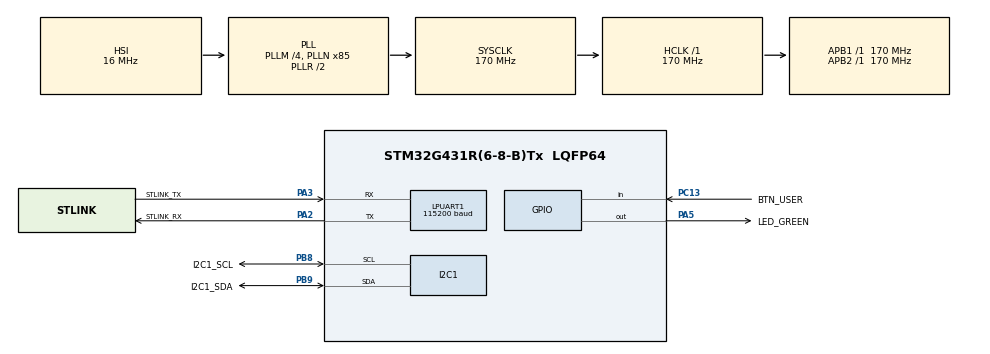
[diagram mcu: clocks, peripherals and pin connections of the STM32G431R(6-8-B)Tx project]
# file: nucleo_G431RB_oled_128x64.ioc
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I2C1.Timing=0x40B285C2
LPUART1.BaudRate=115200
LPUART1.WordLength=UART_WORDLENGTH_8B
Mcu.Family=STM32G4
Mcu.Name=STM32G431R(6-8-B)Tx
Mcu.Package=LQFP64
NVIC.PriorityGroup=NVIC_PRIORITYGROUP_4
PA13.GPIO_Label=T_SWDIO
PA13.Mode=Serial_Wire
PA13.Signal=SYS_JTMS-SWDIO
PA14.GPIO_Label=T_SWCLK
PA14.Mode=Serial_Wire
PA14.Signal=SYS_JTCK-SWCLK
PA2.GPIO_Label=STLINK_RX
PA2.Mode=Asynchronous
PA2.Signal=LPUART1_TX
PA3.GPIO_Label=STLINK_TX
PA3.Mode=Asynchronous
PA3.Signal=LPUART1_RX
PA5.GPIO_Label=LED_GREEN
PA5.Signal=GPIO_Output
PB3.GPIO_Label=T_SWO
PB3.Signal=SYS_JTDO-SWO
PB8-BOOT0.GPIO_Label=I2C1_SCL
PB8-BOOT0.Mode=I2C
PB8-BOOT0.Signal=I2C1_SCL
PB9.GPIO_Label=I2C1_SDA
PB9.Mode=I2C
PB9.Signal=I2C1_SDA
PC13.GPIO_Label=BTN_USER
PC13.Signal=GPIO_Input
PC14-OSC32_IN.Mode=LSE-External-Oscillator
PC14-OSC32_IN.Signal=RCC_OSC32_IN
PC15-OSC32_OUT.Mode=LSE-External-Oscillator
PC15-OSC32_OUT.Signal=RCC_OSC32_OUT
PF0-OSC_IN.Mode=HSE-External-Oscillator
PF0-OSC_IN.Signal=RCC_OSC_IN
PF1-OSC_OUT.Mode=HSE-External-Oscillator
PF1-OSC_OUT.Signal=RCC_OSC_OUT
ProjectManager.HeapSize=0x200
ProjectManager.StackSize=0x400
ProjectManager.TargetToolchain=CMake
RCC.ADC12Freq_Value=170000000
RCC.AHBFreq_Value=170000000
RCC.APB1Freq_Value=170000000
RCC.APB1TimFreq_Value=170000000
RCC.APB2Freq_Value=170000000
RCC.APB2TimFreq_Value=170000000
RCC.CortexFreq_Value=170000000
RCC.EXTERNAL_CLOCK_VALUE=12288000
RCC.HCLKFreq_Value=170000000
RCC.HSE_VALUE=24000000
RCC.HSI48_VALUE=48000000
RCC.HSI_VALUE=16000000
RCC.PLLM=RCC_PLLM_DIV4
RCC.PLLN=85
RCC.SYSCLKFreq_VALUE=170000000
RCC.SYSCLKSource=RCC_SYSCLKSOURCE_PLLCLK
RCC.USBFreq_Value=170000000
RCC.VCOOutputFreq_Value=340000000
RTC.SynchPrediv=250
VP_RTC_VS_RTC_Activate.Mode=RTC_Enabled
VP_SYS_VS_DBSignals.Mode=DisableDeadBatterySignals
board=NUCLEO-G431RB

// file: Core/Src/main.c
/* USER CODE BEGIN Header */
/**
  ******************************************************************************
  * @file           : main.c
  * @brief          : Main program body
  ******************************************************************************
  * @attention
  *
  * Copyright (c) 2026 STMicroelectronics.
  * All rights reserved.
  *
  * This software is licensed under terms that can be found in the LICENSE file
  * in the root directory of this software component.
  * If no LICENSE file comes with this software, it is provided AS-IS.
  *
  ******************************************************************************
  */
/* USER CODE END Header */
#include "main.h"
#include "i2c.h"
#include "stm32g4xx_hal_rtc.h"
#include "usart.h"
#include "rtc.h"
#include "gpio.h"
#include "font.h"

/* USER CODE BEGIN Includes */

#include "oled.h"
#include <stdio.h>

/* USER CODE END Includes */

void SystemClock_Config(void);

int main(void)
{

  /* MCU Configuration--------------------------------------------------------*/

  /* Reset of all peripherals, Initializes the Flash interface and the Systick. */
  HAL_Init();

  /* Configure the system clock */
  SystemClock_Config();

  /* Initialize all configured peripherals */
  MX_GPIO_Init();
  MX_LPUART1_UART_Init();
  MX_I2C1_Init();
  MX_RTC_Init();
  /* USER CODE BEGIN 2 */

  printf("\r\n\r\n** Booted **\r\n");
  printf("Build: " __DATE__ ", " __TIME__ "\r\n");

  OLED_Init();
  OLED_Clear();
  //OLED_Fill();
  OLED_Fill3();

  /* USER CODE END 2 */

  /* Infinite loop */
  /* USER CODE BEGIN WHILE */
  while (1)
  {
    Blink_Code(1);

    /* USER CODE END WHILE */

  }
}

void SystemClock_Config(void)
{
  RCC_OscInitTypeDef RCC_OscInitStruct = {0};
  RCC_ClkInitTypeDef RCC_ClkInitStruct = {0};

  /** Configure the main internal regulator output voltage
  */
  HAL_PWREx_ControlVoltageScaling(PWR_REGULATOR_VOLTAGE_SCALE1_BOOST);

  /** Initializes the RCC Oscillators according to the specified parameters
  * in the RCC_OscInitTypeDef structure.
  */
  RCC_OscInitStruct.OscillatorType = RCC_OSCILLATORTYPE_HSI|RCC_OSCILLATORTYPE_LSI;
  RCC_OscInitStruct.HSIState = RCC_HSI_ON;
  RCC_OscInitStruct.HSICalibrationValue = RCC_HSICALIBRATION_DEFAULT;
  RCC_OscInitStruct.LSIState = RCC_LSI_ON;
  RCC_OscInitStruct.PLL.PLLState = RCC_PLL_ON;
  RCC_OscInitStruct.PLL.PLLSource = RCC_PLLSOURCE_HSI;
  RCC_OscInitStruct.PLL.PLLM = RCC_PLLM_DIV4;
  RCC_OscInitStruct.PLL.PLLN = 85;
  RCC_OscInitStruct.PLL.PLLP = RCC_PLLP_DIV2;
  RCC_OscInitStruct.PLL.PLLQ = RCC_PLLQ_DIV2;
  RCC_OscInitStruct.PLL.PLLR = RCC_PLLR_DIV2;
  if (HAL_RCC_OscConfig(&RCC_OscInitStruct) != HAL_OK)
  {
    Error_Handler();
  }

  /** Initializes the CPU, AHB and APB buses clocks
  */
  RCC_ClkInitStruct.ClockType = RCC_CLOCKTYPE_HCLK|RCC_CLOCKTYPE_SYSCLK
                              |RCC_CLOCKTYPE_PCLK1|RCC_CLOCKTYPE_PCLK2;
  RCC_ClkInitStruct.SYSCLKSource = RCC_SYSCLKSOURCE_PLLCLK;
  RCC_ClkInitStruct.AHBCLKDivider = RCC_SYSCLK_DIV1;
  RCC_ClkInitStruct.APB1CLKDivider = RCC_HCLK_DIV1;
  RCC_ClkInitStruct.APB2CLKDivider = RCC_HCLK_DIV1;

  if (HAL_RCC_ClockConfig(&RCC_ClkInitStruct, FLASH_LATENCY_4) != HAL_OK)
  {
    Error_Handler();
  }
}

/* USER CODE BEGIN 4 */

/* override the _weak function in syscalls.c  */
int _write(int file, char *ptr, int len)
{
    HAL_UART_Transmit(&hlpuart1, (uint8_t *)ptr, (uint16_t)len, HAL_MAX_DELAY);
    return len;
}

/* Blink n times per seconds to indicate error state */
void Blink_Code(uint8_t count)
{
  uint8_t i =0;
  while(1)
  {
    for (i=0; i< count; i++ )
    {
        HAL_GPIO_WritePin(LED_GREEN_GPIO_Port, LED_GREEN_Pin,GPIO_PIN_SET);
        HAL_Delay(100);
        HAL_GPIO_WritePin(LED_GREEN_GPIO_Port, LED_GREEN_Pin,GPIO_PIN_RESET);
        HAL_Delay(100);
    }
    HAL_Delay(900);
  }
}

/* USER CODE END 4 */

void Error_Handler(void)
{
  __disable_irq();
  while (1)
  {
  }
}
